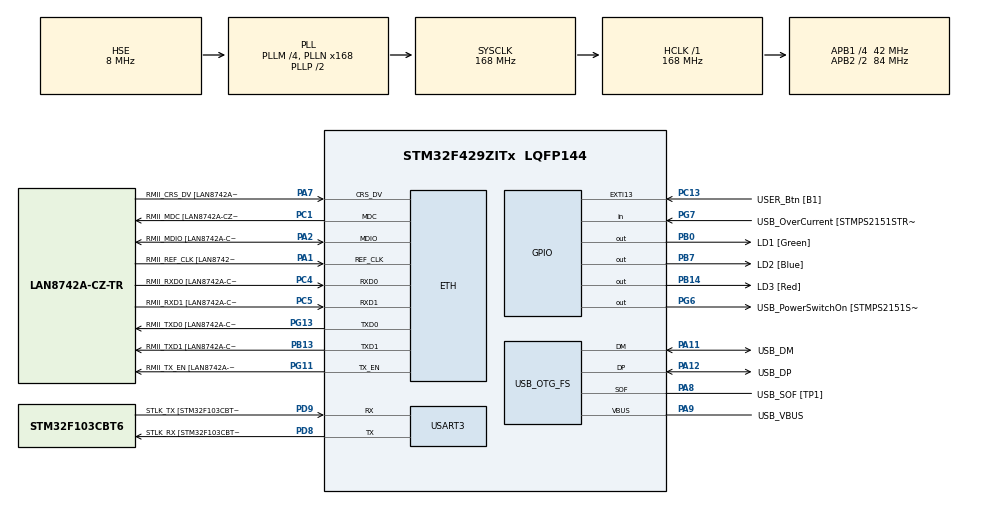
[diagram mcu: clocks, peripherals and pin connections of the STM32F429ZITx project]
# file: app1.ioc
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ETH.MediaInterface=ETH_MEDIA_INTERFACE_RMII
ETH.PHY_Name=LAN8742A_PHY_ADDRESS
ETH.PHY_Value=0
ETH.PhyAddress=0
Mcu.Family=STM32F4
Mcu.Name=STM32F429ZITx
Mcu.Package=LQFP144
NVIC.PriorityGroup=NVIC_PRIORITYGROUP_4
PA1.GPIO_Label=RMII_REF_CLK [LAN8742A-CZ-TR_REFCLK0]
PA1.Mode=RMII
PA1.Signal=ETH_REF_CLK
PA10.GPIO_Label=USB_ID
PA10.Signal=USB_OTG_FS_ID
PA11.GPIO_Label=USB_DM
PA11.Mode=Device_Only
PA11.Signal=USB_OTG_FS_DM
PA12.GPIO_Label=USB_DP
PA12.Mode=Device_Only
PA12.Signal=USB_OTG_FS_DP
PA13.GPIO_Label=TMS
PA13.Mode=Serial_Wire
PA13.Signal=SYS_JTMS-SWDIO
PA14.GPIO_Label=TCK
PA14.Mode=Serial_Wire
PA14.Signal=SYS_JTCK-SWCLK
PA2.GPIO_Label=RMII_MDIO [LAN8742A-CZ-TR_MDIO]
PA2.Mode=RMII
PA2.Signal=ETH_MDIO
PA7.GPIO_Label=RMII_CRS_DV [LAN8742A-CZ-TR_CRS_DV]
PA7.Mode=RMII
PA7.Signal=ETH_CRS_DV
PA8.GPIO_Label=USB_SOF [TP1]
PA8.Mode=Activate_SOF_FS
PA8.Signal=USB_OTG_FS_SOF
PA9.GPIO_Label=USB_VBUS
PA9.Mode=Activate_VBUS
PA9.Signal=USB_OTG_FS_VBUS
PB0.GPIO_Label=LD1 [Green]
PB0.Signal=GPIO_Output
PB13.GPIO_Label=RMII_TXD1 [LAN8742A-CZ-TR_TXD1]
PB13.Mode=RMII
PB13.Signal=ETH_TXD1
PB14.GPIO_Label=LD3 [Red]
PB14.Signal=GPIO_Output
PB7.GPIO_Label=LD2 [Blue]
PB7.Signal=GPIO_Output
PC1.GPIO_Label=RMII_MDC [LAN8742A-CZ-TR_MDC]
PC1.Mode=RMII
PC1.Signal=ETH_MDC
PC13.GPIO_Label=USER_Btn [B1]
PC13.Signal=GPXTI13
PC14/OSC32_IN.Mode=LSE-External-Oscillator
PC14/OSC32_IN.Signal=RCC_OSC32_IN
PC15/OSC32_OUT.Mode=LSE-External-Oscillator
PC15/OSC32_OUT.Signal=RCC_OSC32_OUT
PC4.GPIO_Label=RMII_RXD0 [LAN8742A-CZ-TR_RXD0]
PC4.Mode=RMII
PC4.Signal=ETH_RXD0
PC5.GPIO_Label=RMII_RXD1 [LAN8742A-CZ-TR_RXD1]
PC5.Mode=RMII
PC5.Signal=ETH_RXD1
PD8.GPIO_Label=STLK_RX [STM32F103CBT6_PA3]
PD8.Mode=Asynchronous
PD8.Signal=USART3_TX
PD9.GPIO_Label=STLK_TX [STM32F103CBT6_PA2]
PD9.Mode=Asynchronous
PD9.Signal=USART3_RX
PG11.GPIO_Label=RMII_TX_EN [LAN8742A-CZ-TR_TXEN]
PG11.Mode=RMII
PG11.Signal=ETH_TX_EN
PG13.GPIO_Label=RMII_TXD0 [LAN8742A-CZ-TR_TXD0]
PG13.Mode=RMII
PG13.Signal=ETH_TXD0
PG6.GPIO_Label=USB_PowerSwitchOn [STMPS2151STR_EN]
PG6.Signal=GPIO_Output
PG7.GPIO_Label=USB_OverCurrent [STMPS2151STR_FAULT]
PG7.Signal=GPIO_Input
PH0/OSC_IN.GPIO_Label=MCO [STM32F103CBT6_PA8]
PH0/OSC_IN.Mode=HSE-External-Clock-Source
PH0/OSC_IN.Signal=RCC_OSC_IN
PH1/OSC_OUT.Mode=HSE-External-Clock-Source
PH1/OSC_OUT.Signal=RCC_OSC_OUT
ProjectManager.HeapSize=0x200
ProjectManager.StackSize=0x400
ProjectManager.TargetToolchain=STM32CubeIDE
RCC.48MHZClocksFreq_Value=48000000
RCC.AHBFreq_Value=168000000
RCC.APB1CLKDivider=RCC_HCLK_DIV4
RCC.APB1Freq_Value=42000000
RCC.APB1TimFreq_Value=84000000
RCC.APB2CLKDivider=RCC_HCLK_DIV2
RCC.APB2Freq_Value=84000000
RCC.APB2TimFreq_Value=168000000
RCC.CortexFreq_Value=168000000
RCC.HCLKFreq_Value=168000000
RCC.HSE_VALUE=8000000
RCC.HSI_VALUE=16000000
RCC.PLLM=4
RCC.PLLMUL=RCC_PLL_MUL9
RCC.PLLN=168
RCC.PLLQ=7
RCC.PRESCALERUSB=RCC_USBCLKSOURCE_PLL_DIV1_5
RCC.SYSCLKFreq_VALUE=168000000
RCC.SYSCLKSource=RCC_SYSCLKSOURCE_PLLCLK
RCC.SYSCLKSourceVirtual=RCC_SYSCLKSOURCE_PLLCLK
RCC.USBFreq_Value=48000000
RCC.VCOOutputFreq_Value=336000000
USART3.VirtualMode=VM_ASYNC
USB_OTG_FS.VirtualMode=Device_Only
board=NUCLEO-F429ZI

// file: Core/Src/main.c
/* USER CODE BEGIN Header */
/**
  ******************************************************************************
  * @file           : main.c
  * @brief          : Main program body
  ******************************************************************************
  * @attention
  *
  * <h2><center>&copy; Copyright (c) 2020 STMicroelectronics.
  * All rights reserved.</center></h2>
  *
  * This software component is licensed by ST under BSD 3-Clause license,
  * the "License"; You may not use this file except in compliance with the
  * License. You may obtain a copy of the License at:
  *                        opensource.org/licenses/BSD-3-Clause
  *
  ******************************************************************************
  */
/* USER CODE END Header */

#include "main.h"

/* USER CODE BEGIN Includes */
#include <stdio.h>
/* USER CODE END Includes */

/* USER CODE BEGIN PD */
#define IMAGE_MAGIC 0xABCD

#define FLASH_AREA_IMAGE_1   0x08020000        //sector 5 start
#define FLASH_AREA_IMAGE_2   0x080a0000        //sector 9 start

#define IMAGE_OFFSET        0x200             //because vector table offset should be a multiple of 0x200

/* USER CODE END PD */

ETH_HandleTypeDef heth;

UART_HandleTypeDef huart3;

PCD_HandleTypeDef hpcd_USB_OTG_FS;

void SystemClock_Config(void);
static void MX_GPIO_Init(void);
static void MX_ETH_Init(void);
static void MX_USART3_UART_Init(void);
static void MX_USB_OTG_FS_PCD_Init(void);

/* USER CODE BEGIN 0 */
typedef struct __attribute__((packed)){
    uint16_t image_magic;
    uint16_t image_version;
    uint32_t image_size;
    uint32_t crc;

} image_hdr_t;

#ifdef __GNUC__
# define PUTCHAR_PROTOTYPE int __io_putchar(int ch)
#else
# define PUTCHAR_PROTOTYPE int fputc(int ch, FILE * f)
# endif
PUTCHAR_PROTOTYPE {
  HAL_UART_Transmit( & huart3, (uint8_t * ) & ch, 1, 10);
  return ch;
}

image_hdr_t image_hdr __attribute__((section(".fw_header")))= {
    .image_magic = IMAGE_MAGIC,
    .image_version = 9,
    .image_size = 0,               //to be added manually using crc.py script after build
    .crc = 0                       //-do-
};

/* USER CODE END 0 */

int main(void)
{

  /* MCU Configuration--------------------------------------------------------*/

  /* Reset of all peripherals, Initializes the Flash interface and the Systick. */
  HAL_Init();

  /* Configure the system clock */
  SystemClock_Config();

  /* Initialize all configured peripherals */
  MX_GPIO_Init();
  MX_ETH_Init();
  MX_USART3_UART_Init();
  MX_USB_OTG_FS_PCD_Init();
  /* USER CODE BEGIN 2 */

  printf("App STARTED - version %d - CRC 0x%lx\n",
         image_hdr.image_version,
         image_hdr.crc);
  /* USER CODE END 2 */

  /* Infinite loop */
  while (1)
  {
	  HAL_GPIO_WritePin(GPIOB, LD1_Pin, GPIO_PIN_RESET);
	  HAL_Delay(200);
	  HAL_GPIO_WritePin(GPIOB, LD1_Pin, GPIO_PIN_SET);
	  HAL_Delay(200);
  }
}

void SystemClock_Config(void)
{
  RCC_OscInitTypeDef RCC_OscInitStruct = {0};
  RCC_ClkInitTypeDef RCC_ClkInitStruct = {0};

  /** Configure the main internal regulator output voltage
  */
  __HAL_RCC_PWR_CLK_ENABLE();
  __HAL_PWR_VOLTAGESCALING_CONFIG(PWR_REGULATOR_VOLTAGE_SCALE1);
  /** Initializes the CPU, AHB and APB busses clocks
  */
  RCC_OscInitStruct.OscillatorType = RCC_OSCILLATORTYPE_HSE;
  RCC_OscInitStruct.HSEState = RCC_HSE_BYPASS;
  RCC_OscInitStruct.PLL.PLLState = RCC_PLL_ON;
  RCC_OscInitStruct.PLL.PLLSource = RCC_PLLSOURCE_HSE;
  RCC_OscInitStruct.PLL.PLLM = 4;
  RCC_OscInitStruct.PLL.PLLN = 168;
  RCC_OscInitStruct.PLL.PLLP = RCC_PLLP_DIV2;
  RCC_OscInitStruct.PLL.PLLQ = 7;
  if (HAL_RCC_OscConfig(&RCC_OscInitStruct) != HAL_OK)
  {
    Error_Handler();
  }
  /** Initializes the CPU, AHB and APB busses clocks
  */
  RCC_ClkInitStruct.ClockType = RCC_CLOCKTYPE_HCLK|RCC_CLOCKTYPE_SYSCLK
                              |RCC_CLOCKTYPE_PCLK1|RCC_CLOCKTYPE_PCLK2;
  RCC_ClkInitStruct.SYSCLKSource = RCC_SYSCLKSOURCE_PLLCLK;
  RCC_ClkInitStruct.AHBCLKDivider = RCC_SYSCLK_DIV1;
  RCC_ClkInitStruct.APB1CLKDivider = RCC_HCLK_DIV4;
  RCC_ClkInitStruct.APB2CLKDivider = RCC_HCLK_DIV2;

  if (HAL_RCC_ClockConfig(&RCC_ClkInitStruct, FLASH_LATENCY_5) != HAL_OK)
  {
    Error_Handler();
  }
}

static void MX_ETH_Init(void)
{

  heth.Instance = ETH;
  heth.Init.AutoNegotiation = ETH_AUTONEGOTIATION_ENABLE;
  heth.Init.PhyAddress = LAN8742A_PHY_ADDRESS;
  heth.Init.MACAddr[0] =   0x00;
  heth.Init.MACAddr[1] =   0x80;
  heth.Init.MACAddr[2] =   0xE1;
  heth.Init.MACAddr[3] =   0x00;
  heth.Init.MACAddr[4] =   0x00;
  heth.Init.MACAddr[5] =   0x00;
  heth.Init.RxMode = ETH_RXPOLLING_MODE;
  heth.Init.ChecksumMode = ETH_CHECKSUM_BY_HARDWARE;
  heth.Init.MediaInterface = ETH_MEDIA_INTERFACE_RMII;

  if (HAL_ETH_Init(&heth) != HAL_OK)
  {
    Error_Handler();
  }

}

static void MX_USART3_UART_Init(void)
{

  huart3.Instance = USART3;
  huart3.Init.BaudRate = 115200;
  huart3.Init.WordLength = UART_WORDLENGTH_8B;
  huart3.Init.StopBits = UART_STOPBITS_1;
  huart3.Init.Parity = UART_PARITY_NONE;
  huart3.Init.Mode = UART_MODE_TX_RX;
  huart3.Init.HwFlowCtl = UART_HWCONTROL_NONE;
  huart3.Init.OverSampling = UART_OVERSAMPLING_16;
  if (HAL_UART_Init(&huart3) != HAL_OK)
  {
    Error_Handler();
  }

}

static void MX_USB_OTG_FS_PCD_Init(void)
{

  hpcd_USB_OTG_FS.Instance = USB_OTG_FS;
  hpcd_USB_OTG_FS.Init.dev_endpoints = 4;
  hpcd_USB_OTG_FS.Init.speed = PCD_SPEED_FULL;
  hpcd_USB_OTG_FS.Init.dma_enable = DISABLE;
  hpcd_USB_OTG_FS.Init.phy_itface = PCD_PHY_EMBEDDED;
  hpcd_USB_OTG_FS.Init.Sof_enable = ENABLE;
  hpcd_USB_OTG_FS.Init.low_power_enable = DISABLE;
  hpcd_USB_OTG_FS.Init.lpm_enable = DISABLE;
  hpcd_USB_OTG_FS.Init.vbus_sensing_enable = ENABLE;
  hpcd_USB_OTG_FS.Init.use_dedicated_ep1 = DISABLE;
  if (HAL_PCD_Init(&hpcd_USB_OTG_FS) != HAL_OK)
  {
    Error_Handler();
  }

}

static void MX_GPIO_Init(void)
{
  GPIO_InitTypeDef GPIO_InitStruct = {0};

  /* GPIO Ports Clock Enable */
  __HAL_RCC_GPIOC_CLK_ENABLE();
  __HAL_RCC_GPIOH_CLK_ENABLE();
  __HAL_RCC_GPIOA_CLK_ENABLE();
  __HAL_RCC_GPIOB_CLK_ENABLE();
  __HAL_RCC_GPIOD_CLK_ENABLE();
  __HAL_RCC_GPIOG_CLK_ENABLE();

  /*Configure GPIO pin Output Level */
  HAL_GPIO_WritePin(GPIOB, LD1_Pin|LD3_Pin|LD2_Pin, GPIO_PIN_RESET);

  /*Configure GPIO pin Output Level */
  HAL_GPIO_WritePin(USB_PowerSwitchOn_GPIO_Port, USB_PowerSwitchOn_Pin, GPIO_PIN_RESET);

  /*Configure GPIO pin : USER_Btn_Pin */
  GPIO_InitStruct.Pin = USER_Btn_Pin;
  GPIO_InitStruct.Mode = GPIO_MODE_IT_RISING;
  GPIO_InitStruct.Pull = GPIO_NOPULL;
  HAL_GPIO_Init(USER_Btn_GPIO_Port, &GPIO_InitStruct);

  /*Configure GPIO pins : LD1_Pin LD3_Pin LD2_Pin */
  GPIO_InitStruct.Pin = LD1_Pin|LD3_Pin|LD2_Pin;
  GPIO_InitStruct.Mode = GPIO_MODE_OUTPUT_PP;
  GPIO_InitStruct.Pull = GPIO_NOPULL;
  GPIO_InitStruct.Speed = GPIO_SPEED_FREQ_LOW;
  HAL_GPIO_Init(GPIOB, &GPIO_InitStruct);

  /*Configure GPIO pin : USB_PowerSwitchOn_Pin */
  GPIO_InitStruct.Pin = USB_PowerSwitchOn_Pin;
  GPIO_InitStruct.Mode = GPIO_MODE_OUTPUT_PP;
  GPIO_InitStruct.Pull = GPIO_NOPULL;
  GPIO_InitStruct.Speed = GPIO_SPEED_FREQ_LOW;
  HAL_GPIO_Init(USB_PowerSwitchOn_GPIO_Port, &GPIO_InitStruct);

  /*Configure GPIO pin : USB_OverCurrent_Pin */
  GPIO_InitStruct.Pin = USB_OverCurrent_Pin;
  GPIO_InitStruct.Mode = GPIO_MODE_INPUT;
  GPIO_InitStruct.Pull = GPIO_NOPULL;
  HAL_GPIO_Init(USB_OverCurrent_GPIO_Port, &GPIO_InitStruct);

}

void Error_Handler(void)
{
}

/************************ (C) COPYRIGHT STMicroelectronics *****END OF FILE****/
